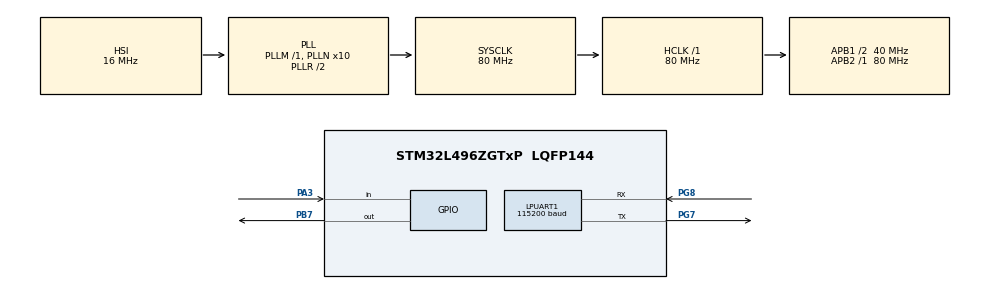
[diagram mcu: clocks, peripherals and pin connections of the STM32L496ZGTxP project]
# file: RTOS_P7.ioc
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FREERTOS.Tasks01=defaultTask,24,128,StartDefaultTask,Default,NULL,Dynamic,NULL,NULL
FREERTOS.Timers01=PeriodicTimer,PTCallback,osTimerPeriodic,Default,NULL,Dynamic,NULL;OneShotTimer,OSTCallback,osTimerOnce,Default,NULL,Dynamic,NULL
FREERTOS.configUSE_NEWLIB_REENTRANT=1
LPUART1.BaudRate=115200
LPUART1.WordLength=UART_WORDLENGTH_8B
Mcu.Family=STM32L4
Mcu.Name=STM32L496ZGTxP
Mcu.Package=LQFP144
NVIC.PriorityGroup=NVIC_PRIORITYGROUP_4
NVIC.TIM6_DAC_IRQn=true\:15\:0\:false\:false\:true\:false\:false\:true\:true
NVIC.TimeBase=TIM6_DAC_IRQn
NVIC.TimeBaseIP=TIM6
PA3.GPIO_PuPd=GPIO_PULLUP
PA3.Signal=GPIO_Input
PB7.Signal=GPIO_Output
PG7.Mode=Asynchronous
PG7.Signal=LPUART1_TX
PG8.Mode=Asynchronous
PG8.Signal=LPUART1_RX
ProjectManager.HeapSize=0x200
ProjectManager.StackSize=0x400
ProjectManager.TargetToolchain=STM32CubeIDE
RCC.48MHZClocksFreq_Value=24000000
RCC.ADCFreq_Value=64000000
RCC.AHBFreq_Value=80000000
RCC.APB1CLKDivider=RCC_HCLK_DIV2
RCC.APB1Freq_Value=40000000
RCC.APB1TimFreq_Value=80000000
RCC.APB2Freq_Value=80000000
RCC.APB2TimFreq_Value=80000000
RCC.CortexFreq_Value=80000000
RCC.HCLKFreq_Value=80000000
RCC.HSE_VALUE=8000000
RCC.HSI48_VALUE=48000000
RCC.HSI_VALUE=16000000
RCC.LSE_VALUE=32768
RCC.MSI_VALUE=4000000
RCC.PLLMUL=RCC_PLL_MUL9
RCC.PLLN=10
RCC.PLLSourceVirtual=RCC_PLLSOURCE_HSI
RCC.PRESCALERUSB=RCC_USBCLKSOURCE_PLL_DIV1_5
RCC.SYSCLKFreq_VALUE=80000000
RCC.SYSCLKSource=RCC_SYSCLKSOURCE_PLLCLK
RCC.SYSCLKSourceVirtual=RCC_SYSCLKSOURCE_PLLCLK
RCC.USBFreq_Value=64000000
RCC.VCOOutputFreq_Value=160000000
VP_FREERTOS_VS_CMSIS_V2.Mode=CMSIS_V2
VP_SYS_VS_tim6.Mode=TIM6
board=NUCLEO-L496ZG-P

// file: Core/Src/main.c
/* USER CODE BEGIN Header */
/**
  ******************************************************************************
  * @file           : main.c
  * @brief          : Main program body
  ******************************************************************************
  * @attention
  *
  * Copyright (c) 2026 STMicroelectronics.
  * All rights reserved.
  *
  * This software is licensed under terms that can be found in the LICENSE file
  * in the root directory of this software component.
  * If no LICENSE file comes with this software, it is provided AS-IS.
  *
  ******************************************************************************
  */
/* USER CODE END Header */
#include "main.h"
#include "cmsis_os.h"

/* USER CODE BEGIN Includes */
#include "stdio.h"
/* USER CODE END Includes */

UART_HandleTypeDef hlpuart1;

/* Definitions for defaultTask */
osThreadId_t defaultTaskHandle;
const osThreadAttr_t defaultTask_attributes = {
  .name = "defaultTask",
  .stack_size = 128 * 4,
  .priority = (osPriority_t) osPriorityNormal,
};
/* Definitions for PeriodicTimer */
osTimerId_t PeriodicTimerHandle;
const osTimerAttr_t PeriodicTimer_attributes = {
  .name = "PeriodicTimer"
};
/* Definitions for OneShotTimer */
osTimerId_t OneShotTimerHandle;
const osTimerAttr_t OneShotTimer_attributes = {
  .name = "OneShotTimer"
};

void SystemClock_Config(void);
static void MX_GPIO_Init(void);
static void MX_LPUART1_UART_Init(void);
void StartDefaultTask(void *argument);
void PTCallback(void *argument);
void OSTCallback(void *argument);

/* USER CODE BEGIN 0 */
int __io_putchar (int ch)
{
	uint8_t c = ch;
	HAL_UART_Transmit(&hlpuart1, &c, 1, HAL_MAX_DELAY);
	return ch;
}
/* USER CODE END 0 */

int main(void)
{

  /* MCU Configuration--------------------------------------------------------*/

  /* Reset of all peripherals, Initializes the Flash interface and the Systick. */
  HAL_Init();

  /* Configure the system clock */
  SystemClock_Config();

  /* Initialize all configured peripherals */
  MX_GPIO_Init();
  MX_LPUART1_UART_Init();

  /* Init scheduler */
  osKernelInitialize();

  /* Create the timer(s) */
  /* creation of PeriodicTimer */
  PeriodicTimerHandle = osTimerNew(PTCallback, osTimerPeriodic, NULL, &PeriodicTimer_attributes);

  /* creation of OneShotTimer */
  OneShotTimerHandle = osTimerNew(OSTCallback, osTimerOnce, NULL, &OneShotTimer_attributes);

  /* Create the thread(s) */
  /* creation of defaultTask */
  defaultTaskHandle = osThreadNew(StartDefaultTask, NULL, &defaultTask_attributes);

  /* Start scheduler */
  osKernelStart();

  /* We should never get here as control is now taken by the scheduler */

  /* Infinite loop */
  while (1)
  {

  }
}

void SystemClock_Config(void)
{
  RCC_OscInitTypeDef RCC_OscInitStruct = {0};
  RCC_ClkInitTypeDef RCC_ClkInitStruct = {0};

  /** Configure the main internal regulator output voltage
  */
  if (HAL_PWREx_ControlVoltageScaling(PWR_REGULATOR_VOLTAGE_SCALE1) != HAL_OK)
  {
    Error_Handler();
  }

  /** Initializes the RCC Oscillators according to the specified parameters
  * in the RCC_OscInitTypeDef structure.
  */
  RCC_OscInitStruct.OscillatorType = RCC_OSCILLATORTYPE_HSI;
  RCC_OscInitStruct.HSIState = RCC_HSI_ON;
  RCC_OscInitStruct.HSICalibrationValue = RCC_HSICALIBRATION_DEFAULT;
  RCC_OscInitStruct.PLL.PLLState = RCC_PLL_ON;
  RCC_OscInitStruct.PLL.PLLSource = RCC_PLLSOURCE_HSI;
  RCC_OscInitStruct.PLL.PLLM = 1;
  RCC_OscInitStruct.PLL.PLLN = 10;
  RCC_OscInitStruct.PLL.PLLP = RCC_PLLP_DIV2;
  RCC_OscInitStruct.PLL.PLLQ = RCC_PLLQ_DIV2;
  RCC_OscInitStruct.PLL.PLLR = RCC_PLLR_DIV2;
  if (HAL_RCC_OscConfig(&RCC_OscInitStruct) != HAL_OK)
  {
    Error_Handler();
  }

  /** Initializes the CPU, AHB and APB buses clocks
  */
  RCC_ClkInitStruct.ClockType = RCC_CLOCKTYPE_HCLK|RCC_CLOCKTYPE_SYSCLK
                              |RCC_CLOCKTYPE_PCLK1|RCC_CLOCKTYPE_PCLK2;
  RCC_ClkInitStruct.SYSCLKSource = RCC_SYSCLKSOURCE_PLLCLK;
  RCC_ClkInitStruct.AHBCLKDivider = RCC_SYSCLK_DIV1;
  RCC_ClkInitStruct.APB1CLKDivider = RCC_HCLK_DIV2;
  RCC_ClkInitStruct.APB2CLKDivider = RCC_HCLK_DIV1;

  if (HAL_RCC_ClockConfig(&RCC_ClkInitStruct, FLASH_LATENCY_4) != HAL_OK)
  {
    Error_Handler();
  }
}

static void MX_LPUART1_UART_Init(void)
{

  hlpuart1.Instance = LPUART1;
  hlpuart1.Init.BaudRate = 115200;
  hlpuart1.Init.WordLength = UART_WORDLENGTH_8B;
  hlpuart1.Init.StopBits = UART_STOPBITS_1;
  hlpuart1.Init.Parity = UART_PARITY_NONE;
  hlpuart1.Init.Mode = UART_MODE_TX_RX;
  hlpuart1.Init.HwFlowCtl = UART_HWCONTROL_NONE;
  hlpuart1.Init.OneBitSampling = UART_ONE_BIT_SAMPLE_DISABLE;
  hlpuart1.AdvancedInit.AdvFeatureInit = UART_ADVFEATURE_NO_INIT;
  if (HAL_UART_Init(&hlpuart1) != HAL_OK)
  {
    Error_Handler();
  }

}

static void MX_GPIO_Init(void)
{
  GPIO_InitTypeDef GPIO_InitStruct = {0};

  /* GPIO Ports Clock Enable */
  __HAL_RCC_GPIOA_CLK_ENABLE();
  __HAL_RCC_GPIOG_CLK_ENABLE();
  HAL_PWREx_EnableVddIO2();
  __HAL_RCC_GPIOB_CLK_ENABLE();

  /*Configure GPIO pin Output Level */
  HAL_GPIO_WritePin(GPIOB, GPIO_PIN_7, GPIO_PIN_RESET);

  /*Configure GPIO pin : PA3 */
  GPIO_InitStruct.Pin = GPIO_PIN_3;
  GPIO_InitStruct.Mode = GPIO_MODE_INPUT;
  GPIO_InitStruct.Pull = GPIO_PULLUP;
  HAL_GPIO_Init(GPIOA, &GPIO_InitStruct);

  /*Configure GPIO pin : PB7 */
  GPIO_InitStruct.Pin = GPIO_PIN_7;
  GPIO_InitStruct.Mode = GPIO_MODE_OUTPUT_PP;
  GPIO_InitStruct.Pull = GPIO_NOPULL;
  GPIO_InitStruct.Speed = GPIO_SPEED_FREQ_LOW;
  HAL_GPIO_Init(GPIOB, &GPIO_InitStruct);

}

void StartDefaultTask(void *argument)
{
  /* USER CODE BEGIN 5 */
	osTimerStart(PeriodicTimerHandle, 1000);
  /* Infinite loop */
  for(;;)
  {
	  if (HAL_GPIO_ReadPin(GPIOA, GPIO_PIN_3)==GPIO_PIN_RESET)
	  {
		  HAL_GPIO_WritePin(GPIOB, GPIO_PIN_7, GPIO_PIN_SET);
		  osTimerStart(OneShotTimerHandle, 5000);
		  if (osTimerIsRunning(PeriodicTimerHandle) == 1)
		  {
			  osTimerStop(PeriodicTimerHandle);
		  }
	  }
    osDelay(1);
  }
  /* USER CODE END 5 */
}

/* PTCallback function */
void PTCallback(void *argument)
{
  /* USER CODE BEGIN PTCallback */

	printf ("Data Sent from Periodic Timer's Callback\n");

  /* USER CODE END PTCallback */
}

/* OSTCallback function */
void OSTCallback(void *argument)
{
  /* USER CODE BEGIN OSTCallback */

	HAL_GPIO_WritePin(GPIOB, GPIO_PIN_7, GPIO_PIN_RESET);
	printf ("##### TIMR EXPIRED #####\n\n");
	if (osTimerIsRunning(PeriodicTimerHandle) == 0)
	{
		osTimerStart(PeriodicTimerHandle, 1000);
	}

  /* USER CODE END OSTCallback */
}

void HAL_TIM_PeriodElapsedCallback(TIM_HandleTypeDef *htim)
{
  if (htim->Instance == TIM6)
  {
    HAL_IncTick();
  }
}

void Error_Handler(void)
{
  __disable_irq();
  while (1)
  {
  }
}
